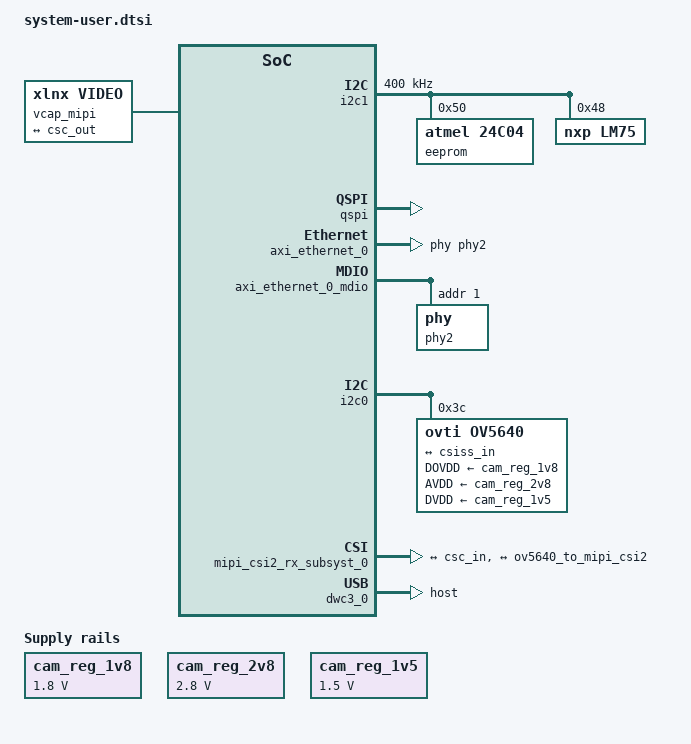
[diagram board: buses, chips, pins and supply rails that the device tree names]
/include/ "system-conf.dtsi"
/ {
	misc_clk_a: misc_clk_a {
		#clock-cells = <0>;
		clock-frequency = <12000000>;
		compatible = "fixed-clock";
	};
	cam_reg_1v8: regulator-1v8 {
		compatible = "regulator-fixed";
		regulator-name = "1v8";
		regulator-min-microvolt = <1800000>;
		regulator-max-microvolt = <1800000>;
	};
	cam_reg_2v8: regulator-1v8 {
		compatible = "regulator-fixed";
		regulator-name = "2v8";
		regulator-min-microvolt = <2800000>;
		regulator-max-microvolt = <2800000>;
	};
	cam_reg_1v5: regulator-1v8 {
		compatible = "regulator-fixed";
		regulator-name = "1v5";
		regulator-min-microvolt = <1500000>;
		regulator-max-microvolt = <1500000>;
	};

};

&i2c1 {
        clock-frequency = <400000>;
        eeprom@50{
                compatible = "atmel,24c04";
                reg = <0x50>;
                pagesize = <16>;
        };
};

&i2c1 {
        clock-frequency = <400000>;
        lm75@48 {
                compatible = "nxp,lm75";
                reg = <0x48>;
        };
};

&qspi {
        status = "okay";
};

&flash0 {
	is-dual = <0>;
	num-cs = <1>;
	spi-rx-bus-width = <4>;
        spi-tx-bus-width = <4>;
        compatible ="jedec,spi-nor";
        reg= <0x0>;
};

&axi_ethernet_0 {
	phy-handle = <&phy2>;
};
&axi_ethernet_0_mdio {
	phy2: phy@2 {
		device_type = "ethernet-phy";
		reg = <1>;
	};
};

&i2c0 {
	ov5640: camera@3c {
		compatible = "ovti,ov5640";
		reg = <0x3c>;
		clocks = <&misc_clk_a>;
		clock-names = "xclk";
		/* rotation = <180>; */
		DOVDD-supply = <&cam_reg_1v8>;
		AVDD-supply = <&cam_reg_2v8>;
		DVDD-supply = <&cam_reg_1v5>;
		port {
			/* MIPI CSI-2 bus endpoint */
			ov5640_to_mipi_csi2: endpoint {
				remote-endpoint = <&csiss_in>;
				clock-lanes = <0>;
				data-lanes = <1 2>;
			};
		};
	};
};


&mipi_csi2_rx_subsyst_0{
	compatible = "xlnx,mipi-csi2-rx-subsystem-2.0";
	csiss_ports: ports {
		#address-cells = <1>;
		#size-cells = <0>;
		csiss_port0: port@0 {
			reg = <0>;

			xlnx,video-format = <0>;
			xlnx,video-width = <8>;

			csiss_out: endpoint {
				remote-endpoint = <&csc_in>;
			};
		};
		csiss_port1: port@1 {
			reg = <1>;

			xlnx,video-format = <0>;
			xlnx,video-width = <8>;

			csiss_in: endpoint {
				data-lanes = <1 2>;
				remote-endpoint = <&ov5640_to_mipi_csi2>;
			};
		};
	};
};

&v_proc_ss_0{
	compatible = "xlnx,v-vpss-csc";
	reset-gpios = <&gpio 86 1>;
	csc_ports: ports {
		#address-cells = <1>;
		#size-cells = <0>;
		csc_port0: port@0 {
			reg = <0>;
			xlnx,video-format = <3>;
			xlnx,video-width = <8>;
			csc_in: endpoint {
				remote-endpoint = <&csiss_out>;
			};
		};
		csc_port1: port@1 {
			reg = <1>;
			xlnx,video-format = <3>;
			xlnx,video-width = <8>;
			csc_out: endpoint {
				remote-endpoint = <&vcap_in>;
			};
		};
	};
};


&v_frmbuf_wr_0 {
	compatible = "xlnx,axi-frmbuf-wr-v2.1";
	reset-gpios = <&gpio 85 1>;
};

&amba_pl {
	vcap_mipi {
		compatible = "xlnx,video";
		dma-names = "port0";
		dmas = <&v_frmbuf_wr_0 0>;
		vcap_ports: ports {
			#address-cells = <1>;
			#size-cells = <0>;
			vcap_port: port@0 {
				direction = "input";
				reg = <0>;
				vcap_in: endpoint {
					remote-endpoint = <&csc_out>;
				};
			};
		};
	};
};

/* SD */
&sdhci1 {
	disable-wp;
	no-1-8-v;
};

/* USB  */
&dwc3_0 {
    status = "okay";
    dr_mode = "host";
};

